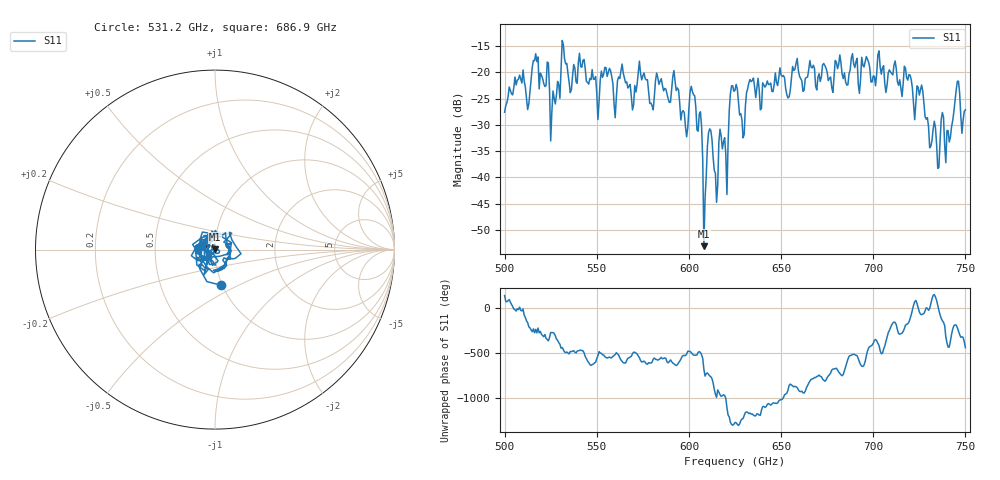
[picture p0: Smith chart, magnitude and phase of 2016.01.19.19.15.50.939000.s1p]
!Created with skrf (http://scikit-rf.org).
# GHz S RI R 50.0
!freq ReS11 ImS11
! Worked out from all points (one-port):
!   401 points, 500 GHz to 750 GHz, reference 50 ohm
!   lowest |S11| = -53.1 dB at 608.1 GHz (marker M1), VSWR 1.00, Z = 50.2 + j0.135 ohm
!   |S11| at or under -10 dB: start of sweep to end of sweep
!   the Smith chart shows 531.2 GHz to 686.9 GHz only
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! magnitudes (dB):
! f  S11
! 500 GHz  -27.6
! 508.8 GHz  -21.3
! 513.1 GHz  -26.0
! 516.9 GHz  -16.4
! 526.2 GHz  -23.5
! 531.2 GHz  -13.9
! 550 GHz  -23.9
! 562.5 GHz  -21.1
! 580 GHz  -26.4
! 593.8 GHz  -23.0
! 598.1 GHz  -30.4
! 602.5 GHz  -24.2
! 606.2 GHz  -27.5
! 608.1 GHz  -53.1
! 611.2 GHz  -30.7
! 614.4 GHz  -39.2
! 617.5 GHz  -32.1
! 620 GHz  -35.5
! 625 GHz  -23.4
! 628.8 GHz  -28.9
! 633.8 GHz  -21.8
! 656.2 GHz  -18.9
! 687.5 GHz  -19.5
! 718.8 GHz  -21.5
! 735 GHz  -38.3
! 740.6 GHz  -31.1
! 745.6 GHz  -21.7
! 750 GHz  -27.1
